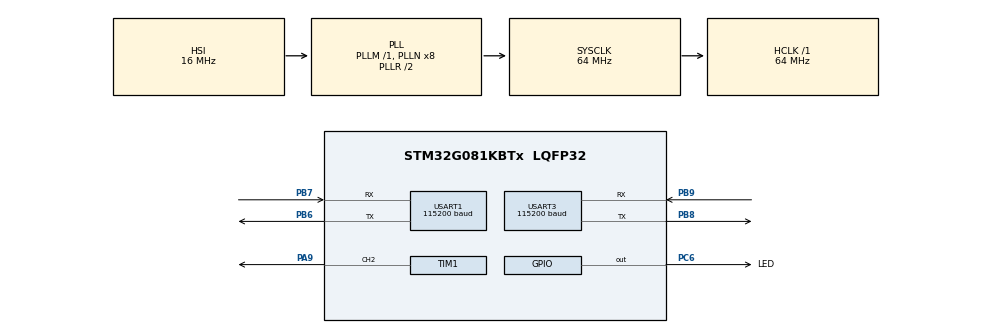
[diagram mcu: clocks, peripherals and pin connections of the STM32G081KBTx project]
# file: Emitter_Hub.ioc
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Dma.Request0=TIM1_CH2
Dma.Request1=USART3_TX
Dma.Request2=USART1_TX
Dma.TIM1_CH2.0.Direction=DMA_MEMORY_TO_PERIPH
Dma.TIM1_CH2.0.EventEnable=DISABLE
Dma.TIM1_CH2.0.Instance=DMA1_Channel1
Dma.TIM1_CH2.0.MemDataAlignment=DMA_MDATAALIGN_HALFWORD
Dma.TIM1_CH2.0.MemInc=DMA_MINC_ENABLE
Dma.TIM1_CH2.0.Mode=DMA_NORMAL
Dma.TIM1_CH2.0.PeriphDataAlignment=DMA_PDATAALIGN_HALFWORD
Dma.TIM1_CH2.0.PeriphInc=DMA_PINC_DISABLE
Dma.TIM1_CH2.0.Polarity=HAL_DMAMUX_REQ_GEN_RISING
Dma.TIM1_CH2.0.Priority=DMA_PRIORITY_LOW
Dma.TIM1_CH2.0.RequestNumber=1
Dma.TIM1_CH2.0.SignalID=NONE
Dma.TIM1_CH2.0.SyncEnable=DISABLE
Dma.TIM1_CH2.0.SyncPolarity=HAL_DMAMUX_SYNC_NO_EVENT
Dma.TIM1_CH2.0.SyncRequestNumber=1
Dma.TIM1_CH2.0.SyncSignalID=NONE
Dma.USART1_TX.2.Direction=DMA_MEMORY_TO_PERIPH
Dma.USART1_TX.2.EventEnable=DISABLE
Dma.USART1_TX.2.Instance=DMA1_Channel3
Dma.USART1_TX.2.MemDataAlignment=DMA_MDATAALIGN_BYTE
Dma.USART1_TX.2.MemInc=DMA_MINC_ENABLE
Dma.USART1_TX.2.Mode=DMA_NORMAL
Dma.USART1_TX.2.PeriphDataAlignment=DMA_PDATAALIGN_BYTE
Dma.USART1_TX.2.PeriphInc=DMA_PINC_DISABLE
Dma.USART1_TX.2.Polarity=HAL_DMAMUX_REQ_GEN_RISING
Dma.USART1_TX.2.Priority=DMA_PRIORITY_LOW
Dma.USART1_TX.2.RequestNumber=1
Dma.USART1_TX.2.SignalID=NONE
Dma.USART1_TX.2.SyncEnable=DISABLE
Dma.USART1_TX.2.SyncPolarity=HAL_DMAMUX_SYNC_NO_EVENT
Dma.USART1_TX.2.SyncRequestNumber=1
Dma.USART1_TX.2.SyncSignalID=NONE
Dma.USART3_TX.1.Direction=DMA_MEMORY_TO_PERIPH
Dma.USART3_TX.1.EventEnable=DISABLE
Dma.USART3_TX.1.Instance=DMA1_Channel2
Dma.USART3_TX.1.MemDataAlignment=DMA_MDATAALIGN_BYTE
Dma.USART3_TX.1.MemInc=DMA_MINC_ENABLE
Dma.USART3_TX.1.Mode=DMA_NORMAL
Dma.USART3_TX.1.PeriphDataAlignment=DMA_PDATAALIGN_BYTE
Dma.USART3_TX.1.PeriphInc=DMA_PINC_DISABLE
Dma.USART3_TX.1.Polarity=HAL_DMAMUX_REQ_GEN_RISING
Dma.USART3_TX.1.Priority=DMA_PRIORITY_LOW
Dma.USART3_TX.1.RequestNumber=1
Dma.USART3_TX.1.SignalID=NONE
Dma.USART3_TX.1.SyncEnable=DISABLE
Dma.USART3_TX.1.SyncPolarity=HAL_DMAMUX_SYNC_NO_EVENT
Dma.USART3_TX.1.SyncRequestNumber=1
Dma.USART3_TX.1.SyncSignalID=NONE
Mcu.Family=STM32G0
Mcu.Name=STM32G081KBTx
Mcu.Package=LQFP32
NVIC.DMA1_Channel1_IRQn=true\:0\:0\:false\:false\:true\:false\:true\:true
NVIC.DMA1_Channel2_3_IRQn=true\:0\:0\:false\:false\:true\:false\:true\:true
NVIC.USART1_IRQn=true\:0\:0\:false\:false\:true\:true\:true\:true
NVIC.USART3_4_LPUART1_IRQn=true\:0\:0\:false\:false\:true\:true\:true\:true
PA13.Mode=Serial_Wire
PA13.Signal=SYS_SWDIO
PA14-BOOT0.Mode=Serial_Wire
PA14-BOOT0.Signal=SYS_SWCLK
PA9.Signal=S_TIM1_CH2
PB6.Mode=Asynchronous
PB6.Signal=USART1_TX
PB7.Mode=Asynchronous
PB7.Signal=USART1_RX
PB8.Mode=Asynchronous
PB8.Signal=USART3_TX
PB9.Mode=Asynchronous
PB9.Signal=USART3_RX
PC6.GPIO_Label=LED
PC6.Signal=GPIO_Output
ProjectManager.HeapSize=0x200
ProjectManager.StackSize=0x400
ProjectManager.TargetToolchain=STM32CubeIDE
RCC.ADCFreq_Value=64000000
RCC.AHBFreq_Value=64000000
RCC.CortexFreq_Value=64000000
RCC.EXTERNAL_CLOCK_VALUE=48000
RCC.HCLKFreq_Value=64000000
RCC.HSE_VALUE=8000000
RCC.HSI_VALUE=16000000
RCC.LSE_VALUE=32768
RCC.SYSCLKFreq_VALUE=64000000
RCC.SYSCLKSource=RCC_SYSCLKSOURCE_PLLCLK
RCC.TIM1CLockSelectionVirtual=RCC_TIM1CLKSOURCE_PLL
RCC.VCOOutputFreq_Value=128000000
SH.S_TIM1_CH2.0=TIM1_CH2,PWM Generation2 CH2
TIM1.Channel-PWM\ Generation2\ CH2=TIM_CHANNEL_2
TIM1.Period=80
USART1.BaudRate=115200
USART1.RxPinLevelInvertParam=ADVFEATURE_RXINV_DISABLE
USART1.TxPinLevelInvertParam=ADVFEATURE_TXINV_DISABLE
USART1.VirtualMode-Asynchronous=VM_ASYNC
USART3.BaudRate=115200
USART3.DataInvertParam=ADVFEATURE_DATAINV_DISABLE
USART3.RxPinLevelInvertParam=ADVFEATURE_RXINV_DISABLE
USART3.TxPinLevelInvertParam=ADVFEATURE_TXINV_DISABLE
USART3.VirtualMode-Asynchronous=VM_ASYNC
VP_RNG_VS_RNG.Mode=RNG_Activate
VP_SYS_VS_DBSignals.Mode=DisableDeadBatterySignals
board=custom

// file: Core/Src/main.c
/* USER CODE BEGIN Header */
/**
  ******************************************************************************
  * @file           : main.c
  * @brief          : Main program body
  ******************************************************************************
  * @attention
  *
  * <h2><center>&copy; Copyright (c) 2021 STMicroelectronics.
  * All rights reserved.</center></h2>
  *
  * This software component is licensed by ST under BSD 3-Clause license,
  * the "License"; You may not use this file except in compliance with the
  * License. You may obtain a copy of the License at:
  *                        opensource.org/licenses/BSD-3-Clause
  *
  ******************************************************************************
  */
/* USER CODE END Header */
#include "main.h"

/* USER CODE BEGIN Includes */
#include "uart.h"
#include "WS2812.h"
/* USER CODE END Includes */

RNG_HandleTypeDef hrng;

TIM_HandleTypeDef htim1;
DMA_HandleTypeDef hdma_tim1_ch2;

UART_HandleTypeDef huart1;
UART_HandleTypeDef huart3;
DMA_HandleTypeDef hdma_usart1_tx;
DMA_HandleTypeDef hdma_usart3_tx;

void SystemClock_Config(void);
static void MX_GPIO_Init(void);
static void MX_DMA_Init(void);
static void MX_USART1_UART_Init(void);
static void MX_USART3_UART_Init(void);
static void MX_TIM1_Init(void);
static void MX_RNG_Init(void);

int main(void)
{

  /* MCU Configuration--------------------------------------------------------*/

  /* Reset of all peripherals, Initializes the Flash interface and the Systick. */
  HAL_Init();

  /* Configure the system clock */
  SystemClock_Config();

  /* Initialize all configured peripherals */
  MX_GPIO_Init();
  MX_DMA_Init();
  MX_USART1_UART_Init();
  MX_USART3_UART_Init();
  MX_TIM1_Init();
  MX_RNG_Init();
  /* USER CODE BEGIN 2 */
  receiveIT();
  /* USER CODE END 2 */

  /* Infinite loop */
  /* USER CODE BEGIN WHILE */
  while (1)
  {
	  if (cmdReady()) {
		  abortIT();
		  processCommand();
		  // Update LEDs if requested
		  if (updateLEDs()) {
			  updateWS2812();
		  }
		  // Resume receiving interrupts
		  receiveIT();
	  }

    /* USER CODE END WHILE */

  }
}

void SystemClock_Config(void)
{
  RCC_OscInitTypeDef RCC_OscInitStruct = {0};
  RCC_ClkInitTypeDef RCC_ClkInitStruct = {0};

  /** Configure the main internal regulator output voltage
  */
  HAL_PWREx_ControlVoltageScaling(PWR_REGULATOR_VOLTAGE_SCALE1);

  /** Initializes the RCC Oscillators according to the specified parameters
  * in the RCC_OscInitTypeDef structure.
  */
  RCC_OscInitStruct.OscillatorType = RCC_OSCILLATORTYPE_HSI;
  RCC_OscInitStruct.HSIState = RCC_HSI_ON;
  RCC_OscInitStruct.HSIDiv = RCC_HSI_DIV1;
  RCC_OscInitStruct.HSICalibrationValue = RCC_HSICALIBRATION_DEFAULT;
  RCC_OscInitStruct.PLL.PLLState = RCC_PLL_ON;
  RCC_OscInitStruct.PLL.PLLSource = RCC_PLLSOURCE_HSI;
  RCC_OscInitStruct.PLL.PLLM = RCC_PLLM_DIV1;
  RCC_OscInitStruct.PLL.PLLN = 8;
  RCC_OscInitStruct.PLL.PLLP = RCC_PLLP_DIV2;
  RCC_OscInitStruct.PLL.PLLQ = RCC_PLLQ_DIV2;
  RCC_OscInitStruct.PLL.PLLR = RCC_PLLR_DIV2;
  if (HAL_RCC_OscConfig(&RCC_OscInitStruct) != HAL_OK)
  {
    Error_Handler();
  }

  /** Initializes the CPU, AHB and APB buses clocks
  */
  RCC_ClkInitStruct.ClockType = RCC_CLOCKTYPE_HCLK|RCC_CLOCKTYPE_SYSCLK
                              |RCC_CLOCKTYPE_PCLK1;
  RCC_ClkInitStruct.SYSCLKSource = RCC_SYSCLKSOURCE_PLLCLK;
  RCC_ClkInitStruct.AHBCLKDivider = RCC_SYSCLK_DIV1;
  RCC_ClkInitStruct.APB1CLKDivider = RCC_HCLK_DIV1;

  if (HAL_RCC_ClockConfig(&RCC_ClkInitStruct, FLASH_LATENCY_2) != HAL_OK)
  {
    Error_Handler();
  }
}

static void MX_RNG_Init(void)
{

  hrng.Instance = RNG;
  hrng.Init.ClockErrorDetection = RNG_CED_ENABLE;
  if (HAL_RNG_Init(&hrng) != HAL_OK)
  {
    Error_Handler();
  }

}

static void MX_TIM1_Init(void)
{

  TIM_MasterConfigTypeDef sMasterConfig = {0};
  TIM_OC_InitTypeDef sConfigOC = {0};
  TIM_BreakDeadTimeConfigTypeDef sBreakDeadTimeConfig = {0};

  htim1.Instance = TIM1;
  htim1.Init.Prescaler = 0;
  htim1.Init.CounterMode = TIM_COUNTERMODE_UP;
  htim1.Init.Period = 80;
  htim1.Init.ClockDivision = TIM_CLOCKDIVISION_DIV1;
  htim1.Init.RepetitionCounter = 0;
  htim1.Init.AutoReloadPreload = TIM_AUTORELOAD_PRELOAD_DISABLE;
  if (HAL_TIM_PWM_Init(&htim1) != HAL_OK)
  {
    Error_Handler();
  }
  sMasterConfig.MasterOutputTrigger = TIM_TRGO_RESET;
  sMasterConfig.MasterOutputTrigger2 = TIM_TRGO2_RESET;
  sMasterConfig.MasterSlaveMode = TIM_MASTERSLAVEMODE_DISABLE;
  if (HAL_TIMEx_MasterConfigSynchronization(&htim1, &sMasterConfig) != HAL_OK)
  {
    Error_Handler();
  }
  sConfigOC.OCMode = TIM_OCMODE_PWM1;
  sConfigOC.Pulse = 0;
  sConfigOC.OCPolarity = TIM_OCPOLARITY_HIGH;
  sConfigOC.OCNPolarity = TIM_OCNPOLARITY_HIGH;
  sConfigOC.OCFastMode = TIM_OCFAST_DISABLE;
  sConfigOC.OCIdleState = TIM_OCIDLESTATE_RESET;
  sConfigOC.OCNIdleState = TIM_OCNIDLESTATE_RESET;
  if (HAL_TIM_PWM_ConfigChannel(&htim1, &sConfigOC, TIM_CHANNEL_2) != HAL_OK)
  {
    Error_Handler();
  }
  sBreakDeadTimeConfig.OffStateRunMode = TIM_OSSR_DISABLE;
  sBreakDeadTimeConfig.OffStateIDLEMode = TIM_OSSI_DISABLE;
  sBreakDeadTimeConfig.LockLevel = TIM_LOCKLEVEL_OFF;
  sBreakDeadTimeConfig.DeadTime = 0;
  sBreakDeadTimeConfig.BreakState = TIM_BREAK_DISABLE;
  sBreakDeadTimeConfig.BreakPolarity = TIM_BREAKPOLARITY_HIGH;
  sBreakDeadTimeConfig.BreakFilter = 0;
  sBreakDeadTimeConfig.BreakAFMode = TIM_BREAK_AFMODE_INPUT;
  sBreakDeadTimeConfig.Break2State = TIM_BREAK2_DISABLE;
  sBreakDeadTimeConfig.Break2Polarity = TIM_BREAK2POLARITY_HIGH;
  sBreakDeadTimeConfig.Break2Filter = 0;
  sBreakDeadTimeConfig.Break2AFMode = TIM_BREAK_AFMODE_INPUT;
  sBreakDeadTimeConfig.AutomaticOutput = TIM_AUTOMATICOUTPUT_DISABLE;
  if (HAL_TIMEx_ConfigBreakDeadTime(&htim1, &sBreakDeadTimeConfig) != HAL_OK)
  {
    Error_Handler();
  }
  HAL_TIM_MspPostInit(&htim1);

}

static void MX_USART1_UART_Init(void)
{

  huart1.Instance = USART1;
  huart1.Init.BaudRate = 115200;
  huart1.Init.WordLength = UART_WORDLENGTH_8B;
  huart1.Init.StopBits = UART_STOPBITS_1;
  huart1.Init.Parity = UART_PARITY_NONE;
  huart1.Init.Mode = UART_MODE_TX_RX;
  huart1.Init.HwFlowCtl = UART_HWCONTROL_NONE;
  huart1.Init.OverSampling = UART_OVERSAMPLING_16;
  huart1.Init.OneBitSampling = UART_ONE_BIT_SAMPLE_DISABLE;
  huart1.Init.ClockPrescaler = UART_PRESCALER_DIV1;
  huart1.AdvancedInit.AdvFeatureInit = UART_ADVFEATURE_NO_INIT;
  if (HAL_UART_Init(&huart1) != HAL_OK)
  {
    Error_Handler();
  }
  if (HAL_UARTEx_SetTxFifoThreshold(&huart1, UART_TXFIFO_THRESHOLD_1_8) != HAL_OK)
  {
    Error_Handler();
  }
  if (HAL_UARTEx_SetRxFifoThreshold(&huart1, UART_RXFIFO_THRESHOLD_1_8) != HAL_OK)
  {
    Error_Handler();
  }
  if (HAL_UARTEx_DisableFifoMode(&huart1) != HAL_OK)
  {
    Error_Handler();
  }

}

static void MX_USART3_UART_Init(void)
{

  huart3.Instance = USART3;
  huart3.Init.BaudRate = 115200;
  huart3.Init.WordLength = UART_WORDLENGTH_8B;
  huart3.Init.StopBits = UART_STOPBITS_1;
  huart3.Init.Parity = UART_PARITY_NONE;
  huart3.Init.Mode = UART_MODE_TX_RX;
  huart3.Init.HwFlowCtl = UART_HWCONTROL_NONE;
  huart3.Init.OverSampling = UART_OVERSAMPLING_16;
  huart3.Init.OneBitSampling = UART_ONE_BIT_SAMPLE_DISABLE;
  huart3.Init.ClockPrescaler = UART_PRESCALER_DIV1;
  huart3.AdvancedInit.AdvFeatureInit = UART_ADVFEATURE_NO_INIT;
  if (HAL_UART_Init(&huart3) != HAL_OK)
  {
    Error_Handler();
  }

}

static void MX_DMA_Init(void)
{

  /* DMA controller clock enable */
  __HAL_RCC_DMA1_CLK_ENABLE();

  /* DMA interrupt init */
  /* DMA1_Channel1_IRQn interrupt configuration */
  HAL_NVIC_SetPriority(DMA1_Channel1_IRQn, 0, 0);
  HAL_NVIC_EnableIRQ(DMA1_Channel1_IRQn);
  /* DMA1_Channel2_3_IRQn interrupt configuration */
  HAL_NVIC_SetPriority(DMA1_Channel2_3_IRQn, 0, 0);
  HAL_NVIC_EnableIRQ(DMA1_Channel2_3_IRQn);

}

static void MX_GPIO_Init(void)
{
  GPIO_InitTypeDef GPIO_InitStruct = {0};

  /* GPIO Ports Clock Enable */
  __HAL_RCC_GPIOB_CLK_ENABLE();
  __HAL_RCC_GPIOA_CLK_ENABLE();
  __HAL_RCC_GPIOC_CLK_ENABLE();

  /*Configure GPIO pin Output Level */
  HAL_GPIO_WritePin(LED_GPIO_Port, LED_Pin, GPIO_PIN_RESET);

  /*Configure GPIO pin : LED_Pin */
  GPIO_InitStruct.Pin = LED_Pin;
  GPIO_InitStruct.Mode = GPIO_MODE_OUTPUT_PP;
  GPIO_InitStruct.Pull = GPIO_NOPULL;
  GPIO_InitStruct.Speed = GPIO_SPEED_FREQ_LOW;
  HAL_GPIO_Init(LED_GPIO_Port, &GPIO_InitStruct);

}

/* USER CODE BEGIN 4 */
TIM_HandleTypeDef* getLEDTimer() {
	return &htim1;
}
UART_HandleTypeDef* getUFP() {
	return &huart1;
}
UART_HandleTypeDef* getDFP() {
	return &huart3;
}
RNG_HandleTypeDef* getRNG() {
	return &hrng;
}
/* USER CODE END 4 */

void Error_Handler(void)
{
  __disable_irq();
  while (1)
  {
  }
}
